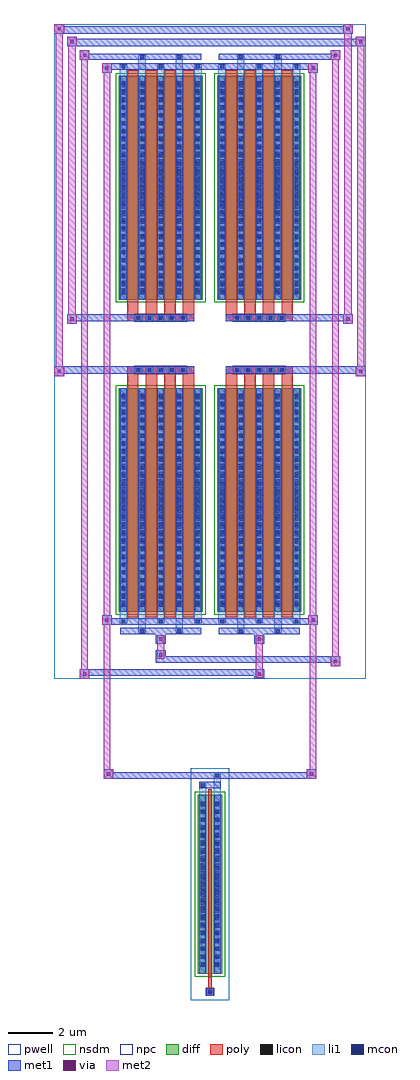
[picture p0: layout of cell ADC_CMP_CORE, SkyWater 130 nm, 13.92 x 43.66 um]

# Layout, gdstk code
import gdstk
lib = gdstk.Library(unit=1e-6, precision=5e-09)
def R(c, l, rs):  # rectangles x0, y0, x1, y1
    for r in rs: c.add(gdstk.rectangle(r[:2], r[2:], *l))
def A(c, l, x, y, w, h, nx, ny, dx, dy):  # array of equal rectangles
    R(c, l, [(x+i*dx, y+j*dy, x+i*dx+w, y+j*dy+h) for i in range(nx) for j in range(ny)])
pwell = (64, 44)
diff = (65, 20)
poly = (66, 20)
licon = (66, 44)
li1 = (67, 20)
mcon = (67, 44)
met1 = (68, 20)
via = (68, 44)
met2 = (69, 20)
nsdm = (93, 44)
npc = (95, 20)

diff_pair_eb1c0242 = lib.new_cell('diff_pair_eb1c0242')
R(diff_pair_eb1c0242, pwell, [(-6.96,-14.98,6.96,14.31), (-4.4,-13.17,-0.01,-0.805), (0.01,-13.17,4.4,-0.805), (-4.4,0.805,-0.01,13.17), (0.01,0.805,4.4,13.17)])
R(diff_pair_eb1c0242, diff, [(-4.09,-11.985,-0.32,-1.985), (0.32,-11.985,4.09,-1.985), (-4.09,1.985,-0.32,11.985), (0.32,1.985,4.09,11.985)])
A(diff_pair_eb1c0242, poly, -3.7, -12.235, 0.5, 10.5, 4, 2, 0.83, 13.97)
A(diff_pair_eb1c0242, poly, 0.71, -12.235, 0.5, 10.5, 4, 2, 0.83, 13.97)
A(diff_pair_eb1c0242, poly, -3.7, -1.735, 0.5, 0.4, 4, 2, 0.83, 3.07)
A(diff_pair_eb1c0242, poly, 0.71, -1.735, 0.5, 0.4, 4, 2, 0.83, 3.07)
A(diff_pair_eb1c0242, poly, -3.37, -1.335, 0.33, 0.33, 5, 2, 0.5, 2.34)
A(diff_pair_eb1c0242, poly, 1.04, -1.335, 0.33, 0.33, 5, 2, 0.5, 2.34)
R(diff_pair_eb1c0242, poly, [(-3.7,-1.335,-0.71,-1.005), (0.71,-1.335,3.7,-1.005), (-3.7,1.005,-0.71,1.335), (0.71,1.005,3.7,1.335)])
A(diff_pair_eb1c0242, licon, -3.95, -11.66, 0.17, 0.17, 5, 28, 0.83, 0.34)
A(diff_pair_eb1c0242, licon, 0.46, -11.66, 0.17, 0.17, 5, 28, 0.83, 0.34)
A(diff_pair_eb1c0242, licon, -3.29, -1.255, 0.17, 0.17, 5, 2, 0.5, 2.34)
A(diff_pair_eb1c0242, licon, 1.12, -1.255, 0.17, 0.17, 5, 2, 0.5, 2.34)
A(diff_pair_eb1c0242, licon, -3.95, 2.31, 0.17, 0.17, 5, 28, 0.83, 0.34)
A(diff_pair_eb1c0242, licon, 0.46, 2.31, 0.17, 0.17, 5, 28, 0.83, 0.34)
A(diff_pair_eb1c0242, li1, -4.03, -12.5, 0.33, 0.515, 3, 2, 1.66, 24.485)
A(diff_pair_eb1c0242, li1, -3.95, -12.5, 0.17, 0.17, 3, 2, 1.66, 24.83)
A(diff_pair_eb1c0242, li1, 0.38, -12.5, 0.33, 0.515, 3, 2, 1.66, 24.485)
A(diff_pair_eb1c0242, li1, 0.46, -12.5, 0.17, 0.17, 3, 2, 1.66, 24.83)
A(diff_pair_eb1c0242, li1, -4.03, -11.985, 0.33, 10, 5, 2, 0.83, 13.97)
A(diff_pair_eb1c0242, li1, 0.38, -11.985, 0.33, 10, 5, 2, 0.83, 13.97)
A(diff_pair_eb1c0242, li1, -3.95, -11.75, 0.17, 0.17, 5, 27, 0.83, 0.36)
A(diff_pair_eb1c0242, li1, -3.95, -11.75, 0.17, 9.53, 5, 2, 0.83, 13.97)
A(diff_pair_eb1c0242, li1, 0.46, -11.75, 0.17, 0.17, 5, 27, 0.83, 0.36)
A(diff_pair_eb1c0242, li1, 0.46, -11.75, 0.17, 9.53, 5, 2, 0.83, 13.97)
A(diff_pair_eb1c0242, li1, -4.03, -11.74, 0.33, 0.33, 5, 28, 0.83, 0.34)
A(diff_pair_eb1c0242, li1, 0.38, -11.74, 0.33, 0.33, 5, 28, 0.83, 0.34)
A(diff_pair_eb1c0242, li1, -3.37, -1.335, 0.33, 0.33, 5, 2, 0.5, 2.34)
A(diff_pair_eb1c0242, li1, 1.04, -1.335, 0.33, 0.33, 5, 2, 0.5, 2.34)
A(diff_pair_eb1c0242, li1, -3.95, 2.22, 0.17, 0.17, 5, 27, 0.83, 0.36)
A(diff_pair_eb1c0242, li1, 0.46, 2.22, 0.17, 0.17, 5, 27, 0.83, 0.36)
A(diff_pair_eb1c0242, li1, -4.03, 2.23, 0.33, 0.33, 5, 28, 0.83, 0.34)
A(diff_pair_eb1c0242, li1, 0.38, 2.23, 0.33, 0.33, 5, 28, 0.83, 0.34)
R(diff_pair_eb1c0242, li1, [(-3.2,-12.93,-2.87,-11.985), (-3.12,-12.93,-2.95,-12.76), (-1.54,-12.93,-1.21,-11.985), (-1.46,-12.93,-1.29,-12.76), (1.21,-12.93,1.54,-11.985), (1.29,-12.93,1.46,-12.76), (2.87,-12.93,3.2,-11.985), (2.95,-12.93,3.12,-12.76), (-3.2,11.985,-2.87,12.93), (-1.54,11.985,-1.21,12.93), (1.21,11.985,1.54,12.93), (2.87,11.985,3.2,12.93), (-3.12,12.76,-2.95,12.93), (-1.46,12.76,-1.29,12.93), (1.29,12.76,1.46,12.93), (2.95,12.76,3.12,12.93)])
A(diff_pair_eb1c0242, mcon, -3.95, -12.5, 0.17, 0.17, 3, 2, 1.66, 24.83)
A(diff_pair_eb1c0242, mcon, 0.46, -12.5, 0.17, 0.17, 3, 2, 1.66, 24.83)
A(diff_pair_eb1c0242, mcon, -3.95, -11.75, 0.17, 0.17, 5, 27, 0.83, 0.36)
A(diff_pair_eb1c0242, mcon, 0.46, -11.75, 0.17, 0.17, 5, 27, 0.83, 0.36)
A(diff_pair_eb1c0242, mcon, -3.29, -1.255, 0.17, 0.17, 5, 2, 0.5, 2.34)
A(diff_pair_eb1c0242, mcon, 1.12, -1.255, 0.17, 0.17, 5, 2, 0.5, 2.34)
A(diff_pair_eb1c0242, mcon, -3.95, 2.22, 0.17, 0.17, 5, 27, 0.83, 0.36)
A(diff_pair_eb1c0242, mcon, 0.46, 2.22, 0.17, 0.17, 5, 27, 0.83, 0.36)
R(diff_pair_eb1c0242, mcon, [(-3.12,-12.93,-2.95,-12.76), (-1.46,-12.93,-1.29,-12.76), (1.29,-12.93,1.46,-12.76), (2.95,-12.93,3.12,-12.76), (-3.12,12.76,-2.95,12.93), (-1.46,12.76,-1.29,12.93), (1.29,12.76,1.46,12.93), (2.95,12.76,3.12,12.93)])
A(diff_pair_eb1c0242, met1, -4.01, -12.56, 0.29, 0.29, 3, 2, 1.66, 24.83)
A(diff_pair_eb1c0242, met1, 0.4, -12.56, 0.29, 0.29, 3, 2, 1.66, 24.83)
A(diff_pair_eb1c0242, met1, -4.01, -11.985, 0.29, 10, 5, 2, 0.83, 13.97)
A(diff_pair_eb1c0242, met1, 0.4, -11.985, 0.29, 10, 5, 2, 0.83, 13.97)
A(diff_pair_eb1c0242, met1, -4.01, -11.81, 0.29, 0.29, 5, 27, 0.83, 0.36)
A(diff_pair_eb1c0242, met1, 0.4, -11.81, 0.29, 0.29, 5, 27, 0.83, 0.36)
A(diff_pair_eb1c0242, met1, -3.35, -1.315, 0.29, 0.29, 5, 2, 0.5, 2.34)
A(diff_pair_eb1c0242, met1, 1.06, -1.315, 0.29, 0.29, 5, 2, 0.5, 2.34)
A(diff_pair_eb1c0242, met1, -4.01, 2.16, 0.29, 0.29, 5, 27, 0.83, 0.36)
A(diff_pair_eb1c0242, met1, 0.4, 2.16, 0.29, 0.29, 5, 27, 0.83, 0.36)
R(diff_pair_eb1c0242, met1, [(-5.82,-14.98,-5.39,-14.55), (1.99,-14.98,2.42,-14.55), (-5.82,-14.84,2.42,-14.55), (5.39,-14.41,5.82,-13.98), (-2.42,-14.27,5.82,-13.98), (-2.42,-14.13,-1.99,-13.7), (-2.42,-13.42,-1.99,-12.99), (1.99,-13.42,2.42,-12.99), (-4.01,-12.99,-0.4,-12.7), (-3.18,-12.99,-2.89,-12.7), (-1.52,-12.99,-1.23,-12.7), (0.4,-12.99,4.01,-12.7), (1.23,-12.99,1.52,-12.7), (2.89,-12.99,3.18,-12.7), (-4.83,-12.56,-4.4,-12.13), (-4.83,-12.56,-4.01,-12.27), (-4.01,-12.56,-0.4,-12.27), (-0.4,-12.56,0.4,-12.27), (0.4,-12.56,4.01,-12.27), (4.01,-12.56,4.83,-12.27), (4.4,-12.56,4.83,-12.13), (-6.96,-1.435,-6.53,-1.005), (6.53,-1.435,6.96,-1.005), (-6.96,-1.335,-0.71,-1.005), (-3.7,-1.335,-0.71,-1.005), (0.71,-1.335,3.7,-1.005), (0.71,-1.335,6.96,-1.005), (-6.39,0.905,-5.96,1.335), (5.96,0.905,6.39,1.335), (-6.39,1.005,-3.7,1.335), (-3.7,1.005,-0.71,1.335), (0.71,1.005,3.7,1.335), (3.7,1.005,6.39,1.335), (-4.83,12.13,-4.4,12.56), (4.4,12.13,4.83,12.56), (-4.83,12.27,-4.01,12.56), (-4.01,12.27,-0.4,12.56), (-0.4,12.27,0.4,12.56), (0.4,12.27,4.01,12.56), (4.01,12.27,4.83,12.56), (-5.82,12.7,-5.39,13.13), (-5.82,12.7,-4.01,12.99), (-4.01,12.7,-0.4,12.99), (-3.18,12.7,-2.89,12.99), (-1.52,12.7,-1.23,12.99), (0.4,12.7,4.01,12.99), (1.23,12.7,1.52,12.99), (2.89,12.7,3.18,12.99), (4.01,12.7,5.82,12.99), (5.39,12.7,5.82,13.13), (-6.39,13.31,-5.96,13.74), (-6.39,13.31,-4.4,13.64), (-4.4,13.31,4.4,13.64), (4.4,13.31,6.96,13.64), (6.53,13.31,6.96,13.74), (-6.96,13.88,-6.53,14.31), (-6.96,13.88,-4.4,14.21), (-4.4,13.88,4.4,14.21), (4.4,13.88,6.39,14.21), (5.96,13.88,6.39,14.31)])
R(diff_pair_eb1c0242, via, [(-5.68,-14.84,-5.53,-14.69), (2.13,-14.84,2.28,-14.69), (5.53,-14.27,5.68,-14.12), (-2.28,-13.99,-2.13,-13.84), (-2.28,-13.28,-2.13,-13.13), (2.13,-13.28,2.28,-13.13), (-4.69,-12.42,-4.54,-12.27), (4.54,-12.42,4.69,-12.27), (-6.82,-1.295,-6.67,-1.145), (6.67,-1.295,6.82,-1.145), (-6.25,1.045,-6.1,1.195), (6.1,1.045,6.25,1.195), (-4.69,12.27,-4.54,12.42), (4.54,12.27,4.69,12.42), (-5.68,12.84,-5.53,12.99), (5.53,12.84,5.68,12.99), (-6.25,13.45,-6.1,13.6), (6.67,13.45,6.82,13.6), (-6.82,14.02,-6.67,14.17), (6.1,14.02,6.25,14.17)])
R(diff_pair_eb1c0242, met2, [(-5.82,-14.98,-5.39,-14.55), (-5.75,-14.98,-5.46,13.13), (-5.46,-14.98,-5.39,-14.55), (-5.77,-14.93,-5.44,-14.6), (2.04,-14.93,2.37,-14.6), (2.04,-14.6,2.37,-13.37), (5.39,-14.41,5.82,-13.98), (5.46,-14.41,5.75,13.13), (5.75,-14.41,5.82,-13.98), (5.44,-14.36,5.77,-14.03), (-2.37,-14.08,-2.04,-13.75), (-2.37,-13.75,-2.04,-13.37), (-2.37,-13.37,-2.04,-13.04), (2.04,-13.37,2.37,-13.04), (-4.83,-12.56,-4.4,-12.13), (-4.76,-12.56,-4.47,12.56), (-4.47,-12.56,-4.4,-12.13), (4.4,-12.56,4.83,-12.13), (4.47,-12.56,4.76,12.56), (4.76,-12.56,4.83,-12.13), (-4.78,-12.51,-4.45,-12.18), (4.45,-12.51,4.78,-12.18), (-6.96,-1.435,-6.53,-1.005), (-6.91,-1.435,-6.58,14.31), (-6.58,-1.435,-6.53,-1.005), (6.53,-1.435,6.96,-1.005), (6.58,-1.435,6.91,13.74), (6.91,-1.435,6.96,-1.005), (-6.91,-1.385,-6.58,-1.055), (6.58,-1.385,6.91,-1.055), (-6.39,0.905,-5.96,1.335), (-6.34,0.905,-6.01,13.74), (-6.01,0.905,-5.96,1.335), (5.96,0.905,6.39,1.335), (6.01,0.905,6.34,14.31), (6.34,0.905,6.39,1.335), (-6.34,0.955,-6.01,1.285), (6.01,0.955,6.34,1.285), (-4.83,12.13,-4.4,12.56), (-4.47,12.13,-4.4,12.56), (4.4,12.13,4.83,12.56), (4.76,12.13,4.83,12.56), (-4.78,12.18,-4.45,12.51), (4.45,12.18,4.78,12.51), (-5.82,12.7,-5.39,13.13), (-5.46,12.7,-5.39,13.13), (5.39,12.7,5.82,13.13), (5.75,12.7,5.82,13.13), (-5.77,12.75,-5.44,13.08), (5.44,12.75,5.77,13.08), (-6.39,13.31,-5.96,13.74), (-6.01,13.31,-5.96,13.74), (6.53,13.31,6.96,13.74), (6.91,13.31,6.96,13.74), (-6.34,13.36,-6.01,13.69), (6.58,13.36,6.91,13.69), (-6.96,13.88,-6.53,14.31), (-6.58,13.88,-6.53,14.31), (5.96,13.88,6.39,14.31), (6.34,13.88,6.39,14.31), (-6.91,13.93,-6.58,14.26), (6.01,13.93,6.34,14.26)])
R(diff_pair_eb1c0242, nsdm, [(-4.22,-12.115,-0.19,-1.855), (0.19,-12.115,4.22,-1.855), (-4.22,1.855,-0.19,12.115), (0.19,1.855,4.22,12.115)])
A(diff_pair_eb1c0242, npc, -3.39, -1.355, 0.37, 0.37, 5, 2, 0.5, 2.34)
A(diff_pair_eb1c0242, npc, 1.02, -1.355, 0.37, 0.37, 5, 2, 0.5, 2.34)
R(diff_pair_eb1c0242, npc, [(-3.39,-1.355,-2.52,-0.985), (-3.39,-1.355,-2.52,-0.985), (-2.89,-1.355,-2.02,-0.985), (-2.89,-1.355,-2.02,-0.985), (-2.39,-1.355,-1.52,-0.985), (-2.39,-1.355,-1.52,-0.985), (-1.89,-1.355,-1.02,-0.985), (-1.89,-1.355,-1.02,-0.985), (1.02,-1.355,1.89,-0.985), (1.02,-1.355,1.89,-0.985), (1.52,-1.355,2.39,-0.985), (1.52,-1.355,2.39,-0.985), (2.02,-1.355,2.89,-0.985), (2.02,-1.355,2.89,-0.985), (2.52,-1.355,3.39,-0.985), (2.52,-1.355,3.39,-0.985), (-3.39,0.985,-2.52,1.355), (-3.39,0.985,-2.52,1.355), (-2.89,0.985,-2.02,1.355), (-2.89,0.985,-2.02,1.355), (-2.39,0.985,-1.52,1.355), (-2.39,0.985,-1.52,1.355), (-1.89,0.985,-1.02,1.355), (-1.89,0.985,-1.02,1.355), (1.02,0.985,1.89,1.355), (1.02,0.985,1.89,1.355), (1.52,0.985,2.39,1.355), (1.52,0.985,2.39,1.355), (2.02,0.985,2.89,1.355), (2.02,0.985,2.89,1.355), (2.52,0.985,3.39,1.355), (2.52,0.985,3.39,1.355)])

unnamed_2105b41b = lib.new_cell('Unnamed_2105b41b')
R(unnamed_2105b41b, pwell, [(-0.86,-5.18,0.86,5.185)])
R(unnamed_2105b41b, diff, [(-0.55,-4,0.55,4)])
R(unnamed_2105b41b, poly, [(-0.165,-4.98,0.165,-4.65), (-0.165,-4.98,0.165,-4.65), (-0.075,-4.65,0.075,-4.25), (-0.075,-4.25,0.075,4.25)])
A(unnamed_2105b41b, licon, -0.41, -3.655, 0.17, 0.17, 1, 22, 0, 0.34)
A(unnamed_2105b41b, licon, 0.24, -3.655, 0.17, 0.17, 1, 22, 0, 0.34)
R(unnamed_2105b41b, licon, [(-0.085,-4.9,0.085,-4.73)])
A(unnamed_2105b41b, li1, -0.49, -3.735, 0.33, 0.33, 1, 22, 0, 0.34)
A(unnamed_2105b41b, li1, 0.16, -3.735, 0.33, 0.33, 1, 22, 0, 0.34)
A(unnamed_2105b41b, li1, -0.41, -3.685, 0.17, 0.17, 1, 21, 0, 0.36)
A(unnamed_2105b41b, li1, 0.24, -3.685, 0.17, 0.17, 1, 21, 0, 0.36)
R(unnamed_2105b41b, li1, [(-0.165,-4.98,0.165,-4.65), (-0.49,-4,-0.16,4), (0.16,-4,0.49,4), (-0.41,-3.685,-0.24,3.685), (0.24,-3.685,0.41,3.685), (-0.49,4,-0.16,4.515), (0.16,4,0.49,4.945), (-0.41,4.345,-0.24,4.515), (0.24,4.775,0.41,4.945)])
A(unnamed_2105b41b, mcon, -0.41, -3.685, 0.17, 0.17, 1, 21, 0, 0.36)
A(unnamed_2105b41b, mcon, 0.24, -3.685, 0.17, 0.17, 1, 21, 0, 0.36)
R(unnamed_2105b41b, mcon, [(-0.085,-4.9,0.085,-4.73), (-0.41,4.345,-0.24,4.515), (0.24,4.775,0.41,4.945)])
A(unnamed_2105b41b, met1, -0.47, -3.745, 0.29, 0.29, 1, 21, 0, 0.36)
A(unnamed_2105b41b, met1, 0.18, -3.745, 0.29, 0.29, 1, 21, 0, 0.36)
R(unnamed_2105b41b, met1, [(-0.165,-4.98,0.165,-4.65), (-0.145,-4.96,0.145,-4.67), (-0.47,-4,-0.18,4), (0.18,-4,0.47,4), (-0.47,4.285,-0.18,4.575), (-0.47,4.285,0.47,4.575), (-0.47,4.715,0.47,5.005), (0.18,4.715,0.47,5.005)])
R(unnamed_2105b41b, nsdm, [(-0.68,-4.13,0.68,4.13)])
R(unnamed_2105b41b, npc, [(-0.185,-5,0.185,-4.63), (-0.185,-5,0.185,-4.63)])

l_route_d6bb65d1 = lib.new_cell('L_route_d6bb65d1')
R(l_route_d6bb65d1, met1, [(0.47,-19.45,4.76,-19.16), (4.33,-19.45,4.76,-19.02), (4.33,-19.45,4.76,-19.02)])
R(l_route_d6bb65d1, via, [(4.47,-19.31,4.62,-19.16)])
R(l_route_d6bb65d1, met2, [(4.33,-19.45,4.76,-19.02), (4.47,-19.45,4.76,-12.56), (4.38,-19.4,4.71,-19.07)])

l_route_66cbe85e = lib.new_cell('L_route_66cbe85e')
R(l_route_66cbe85e, met1, [(-4.76,-19.45,-0.47,-19.16), (-4.76,-19.45,-4.33,-19.02), (-4.76,-19.45,-4.33,-19.02)])
R(l_route_66cbe85e, via, [(-4.62,-19.31,-4.47,-19.16)])
R(l_route_66cbe85e, met2, [(-4.76,-19.45,-4.33,-19.02), (-4.76,-19.45,-4.47,-12.56), (-4.71,-19.4,-4.38,-19.07)])

adc_cmp_core = lib.new_cell('ADC_CMP_CORE')
adc_cmp_core.add(gdstk.Reference(diff_pair_eb1c0242, (0,0)))
adc_cmp_core.add(gdstk.Reference(unnamed_2105b41b, (0,-24.165)))
adc_cmp_core.add(gdstk.Reference(l_route_d6bb65d1, (0,0)))
adc_cmp_core.add(gdstk.Reference(l_route_66cbe85e, (0,0)))

lib.write_gds('ADC_CMP_CORE.gds')
